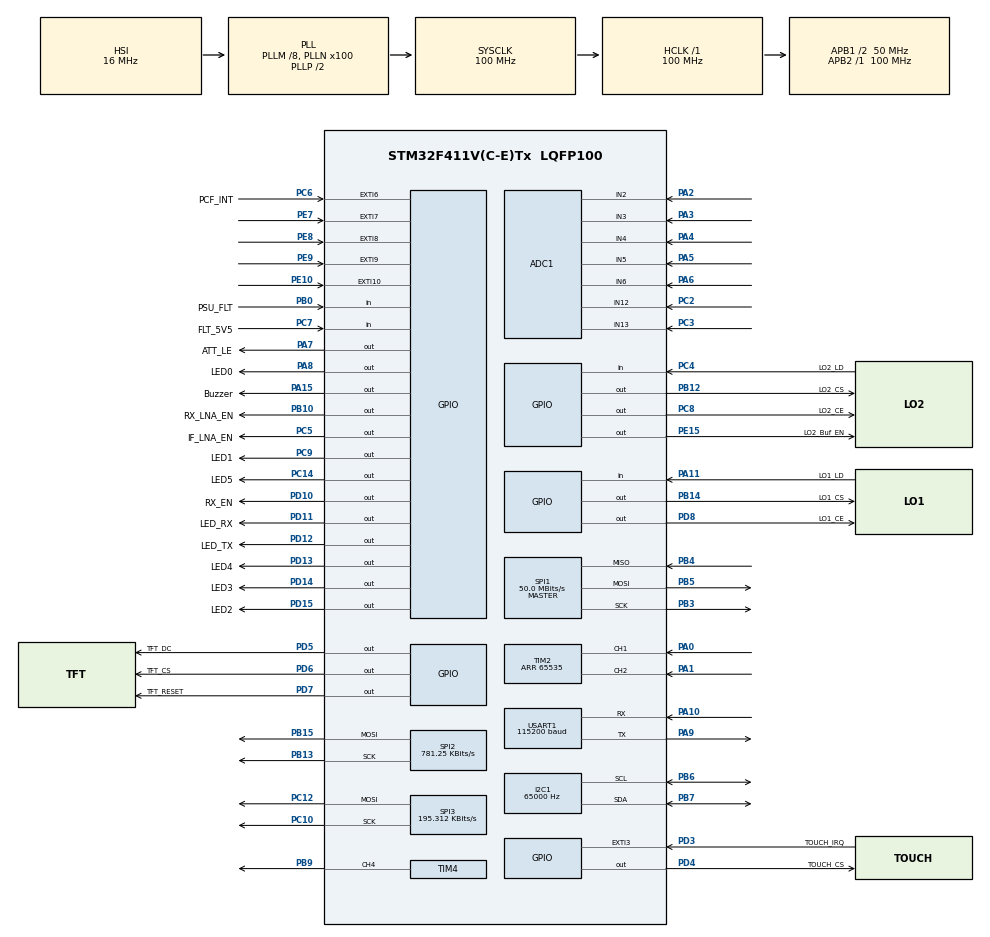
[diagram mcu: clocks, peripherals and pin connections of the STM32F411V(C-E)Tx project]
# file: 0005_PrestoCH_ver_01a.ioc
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ADC1.Channel-1\#ChannelRegularConversion=ADC_CHANNEL_2
ADC1.Channel-2\#ChannelRegularConversion=ADC_CHANNEL_3
ADC1.Channel-3\#ChannelRegularConversion=ADC_CHANNEL_4
ADC1.Channel-4\#ChannelRegularConversion=ADC_CHANNEL_5
ADC1.Channel-5\#ChannelRegularConversion=ADC_CHANNEL_6
ADC1.Channel-6\#ChannelRegularConversion=ADC_CHANNEL_12
ADC1.Channel-7\#ChannelRegularConversion=ADC_CHANNEL_13
ADC1.ClockPrescaler=ADC_CLOCK_SYNC_PCLK_DIV8
ADC1.ContinuousConvMode=ENABLE
ADC1.DMAContinuousRequests=ENABLE
ADC1.NbrOfConversion=7
ADC1.NbrOfConversionFlag=1
ADC1.Rank-1\#ChannelRegularConversion=1
ADC1.Rank-2\#ChannelRegularConversion=2
ADC1.Rank-3\#ChannelRegularConversion=3
ADC1.Rank-4\#ChannelRegularConversion=4
ADC1.Rank-5\#ChannelRegularConversion=5
ADC1.Rank-6\#ChannelRegularConversion=6
ADC1.Rank-7\#ChannelRegularConversion=7
ADC1.SamplingTime-1\#ChannelRegularConversion=ADC_SAMPLETIME_28CYCLES
ADC1.SamplingTime-2\#ChannelRegularConversion=ADC_SAMPLETIME_28CYCLES
ADC1.SamplingTime-3\#ChannelRegularConversion=ADC_SAMPLETIME_28CYCLES
ADC1.SamplingTime-4\#ChannelRegularConversion=ADC_SAMPLETIME_28CYCLES
ADC1.SamplingTime-5\#ChannelRegularConversion=ADC_SAMPLETIME_28CYCLES
ADC1.SamplingTime-6\#ChannelRegularConversion=ADC_SAMPLETIME_28CYCLES
ADC1.SamplingTime-7\#ChannelRegularConversion=ADC_SAMPLETIME_28CYCLES
ADC1.ScanConvMode=ENABLE
ADC1.master=1
Dma.ADC1.1.Direction=DMA_PERIPH_TO_MEMORY
Dma.ADC1.1.FIFOMode=DMA_FIFOMODE_DISABLE
Dma.ADC1.1.Instance=DMA2_Stream0
Dma.ADC1.1.MemDataAlignment=DMA_MDATAALIGN_HALFWORD
Dma.ADC1.1.MemInc=DMA_MINC_ENABLE
Dma.ADC1.1.Mode=DMA_CIRCULAR
Dma.ADC1.1.PeriphDataAlignment=DMA_PDATAALIGN_HALFWORD
Dma.ADC1.1.PeriphInc=DMA_PINC_DISABLE
Dma.ADC1.1.Priority=DMA_PRIORITY_LOW
Dma.Request0=SPI1_TX
Dma.Request1=ADC1
Dma.Request2=USART1_TX
Dma.SPI1_TX.0.Direction=DMA_MEMORY_TO_PERIPH
Dma.SPI1_TX.0.FIFOMode=DMA_FIFOMODE_DISABLE
Dma.SPI1_TX.0.Instance=DMA2_Stream2
Dma.SPI1_TX.0.MemDataAlignment=DMA_MDATAALIGN_BYTE
Dma.SPI1_TX.0.MemInc=DMA_MINC_ENABLE
Dma.SPI1_TX.0.Mode=DMA_NORMAL
Dma.SPI1_TX.0.PeriphDataAlignment=DMA_PDATAALIGN_BYTE
Dma.SPI1_TX.0.PeriphInc=DMA_PINC_DISABLE
Dma.SPI1_TX.0.Priority=DMA_PRIORITY_MEDIUM
Dma.USART1_TX.2.Direction=DMA_MEMORY_TO_PERIPH
Dma.USART1_TX.2.FIFOMode=DMA_FIFOMODE_DISABLE
Dma.USART1_TX.2.Instance=DMA2_Stream7
Dma.USART1_TX.2.MemDataAlignment=DMA_MDATAALIGN_BYTE
Dma.USART1_TX.2.MemInc=DMA_MINC_ENABLE
Dma.USART1_TX.2.Mode=DMA_NORMAL
Dma.USART1_TX.2.PeriphDataAlignment=DMA_PDATAALIGN_BYTE
Dma.USART1_TX.2.PeriphInc=DMA_PINC_DISABLE
Dma.USART1_TX.2.Priority=DMA_PRIORITY_LOW
FREERTOS.Tasks01=Main_task,40,1024,Main_task_start,Default,NULL,Dynamic,NULL,NULL;ADC_task,41,512,ADC_task_start,Default,NULL,Dynamic,NULL,NULL;Display_task,16,512,Display_task_start,Default,NULL,Dynamic,NULL,NULL;Communication_t,8,256,Communication_task_start,Default,NULL,Dynamic,NULL,NULL
FREERTOS.configENABLE_FPU=1
FREERTOS.configUSE_NEWLIB_REENTRANT=1
I2C1.ClockSpeed=65000
Mcu.Family=STM32F4
Mcu.Name=STM32F411V(C-E)Tx
Mcu.Package=LQFP100
NVIC.DMA2_Stream0_IRQn=true\:5\:0\:false\:false\:true\:true\:false\:true\:true
NVIC.DMA2_Stream2_IRQn=true\:5\:0\:false\:false\:true\:true\:false\:true\:true
NVIC.DMA2_Stream7_IRQn=true\:5\:0\:false\:false\:true\:true\:false\:true\:true
NVIC.EXTI15_10_IRQn=true\:5\:0\:false\:false\:true\:true\:true\:true\:true
NVIC.EXTI9_5_IRQn=true\:5\:0\:false\:false\:true\:true\:true\:true\:true
NVIC.PriorityGroup=NVIC_PRIORITYGROUP_4
NVIC.SPI1_IRQn=true\:5\:0\:false\:false\:true\:true\:true\:true\:true
NVIC.SPI2_IRQn=true\:5\:0\:false\:false\:true\:true\:true\:true\:true
NVIC.TIM1_TRG_COM_TIM11_IRQn=true\:15\:0\:false\:false\:true\:false\:false\:true\:true
NVIC.TIM1_UP_TIM10_IRQn=true\:5\:0\:false\:false\:true\:true\:true\:true\:true
NVIC.TimeBase=TIM1_TRG_COM_TIM11_IRQn
NVIC.TimeBaseIP=TIM11
NVIC.USART1_IRQn=true\:5\:0\:false\:false\:true\:true\:true\:true\:true
PA0-WKUP.Signal=S_TIM2_CH1_ETR
PA1.Signal=S_TIM2_CH2
PA10.Mode=Asynchronous
PA10.Signal=USART1_RX
PA11.GPIO_Label=LO1_LD
PA11.Signal=GPIO_Input
PA13.Mode=Serial_Wire
PA13.Signal=SYS_JTMS-SWDIO
PA14.Mode=Serial_Wire
PA14.Signal=SYS_JTCK-SWCLK
PA15.GPIO_Label=Buzzer
PA15.Signal=GPIO_Output
PA2.Signal=ADCx_IN2
PA3.Signal=ADCx_IN3
PA4.Signal=ADCx_IN4
PA5.Signal=ADCx_IN5
PA6.Signal=ADCx_IN6
PA7.GPIO_Label=ATT_LE
PA7.Signal=GPIO_Output
PA8.GPIO_Label=LED0
PA8.Signal=GPIO_Output
PA9.Mode=Asynchronous
PA9.Signal=USART1_TX
PB0.GPIO_Label=PSU_FLT
PB0.Signal=GPIO_Input
PB10.GPIO_Label=RX_LNA_EN
PB10.Signal=GPIO_Output
PB12.GPIO_Label=LO2_CS
PB12.Signal=GPIO_Output
PB13.Mode=TX_Only_Simplex_Unidirect_Master
PB13.Signal=SPI2_SCK
PB14.GPIO_Label=LO1_CS
PB14.Signal=GPIO_Output
PB15.Mode=TX_Only_Simplex_Unidirect_Master
PB15.Signal=SPI2_MOSI
PB3.Mode=Full_Duplex_Master
PB3.Signal=SPI1_SCK
PB4.Mode=Full_Duplex_Master
PB4.Signal=SPI1_MISO
PB5.Mode=Full_Duplex_Master
PB5.Signal=SPI1_MOSI
PB6.Mode=I2C
PB6.Signal=I2C1_SCL
PB7.Mode=I2C
PB7.Signal=I2C1_SDA
PB9.Signal=S_TIM4_CH4
PC10.Mode=TX_Only_Simplex_Unidirect_Master
PC10.Signal=SPI3_SCK
PC12.Mode=TX_Only_Simplex_Unidirect_Master
PC12.Signal=SPI3_MOSI
PC14-OSC32_IN.GPIO_Label=LED5
PC14-OSC32_IN.Signal=GPIO_Output
PC2.Signal=ADCx_IN12
PC3.Signal=ADCx_IN13
PC4.GPIO_Label=LO2_LD
PC4.Signal=GPIO_Input
PC5.GPIO_Label=IF_LNA_EN
PC5.Signal=GPIO_Output
PC6.GPIO_Label=PCF_INT
PC6.GPIO_ModeDefaultEXTI=GPIO_MODE_IT_FALLING
PC6.Signal=GPXTI6
PC7.GPIO_Label=FLT_5V5
PC7.Signal=GPIO_Input
PC8.GPIO_Label=LO2_CE
PC8.Signal=GPIO_Output
PC9.GPIO_Label=LED1
PC9.Signal=GPIO_Output
PD10.GPIO_Label=RX_EN
PD10.Signal=GPIO_Output
PD11.GPIO_Label=LED_RX
PD11.Signal=GPIO_Output
PD12.GPIO_Label=LED_TX
PD12.Signal=GPIO_Output
PD13.GPIO_Label=LED4
PD13.Signal=GPIO_Output
PD14.GPIO_Label=LED3
PD14.Signal=GPIO_Output
PD15.GPIO_Label=LED2
PD15.Signal=GPIO_Output
PD3.GPIO_Label=TOUCH_IRQ
PD3.Signal=GPXTI3
PD4.GPIO_Label=TOUCH_CS
PD4.Signal=GPIO_Output
PD5.GPIO_Label=TFT_DC
PD5.Signal=GPIO_Output
PD6.GPIO_Label=TFT_CS
PD6.Signal=GPIO_Output
PD7.GPIO_Label=TFT_RESET
PD7.Signal=GPIO_Output
PD8.GPIO_Label=LO1_CE
PD8.Signal=GPIO_Output
PE10.GPIO_ModeDefaultEXTI=GPIO_MODE_IT_FALLING
PE10.Signal=GPXTI10
PE15.GPIO_Label=LO2_Buf_EN
PE15.Signal=GPIO_Output
PE7.GPIO_ModeDefaultEXTI=GPIO_MODE_IT_FALLING
PE7.Signal=GPXTI7
PE8.GPIO_ModeDefaultEXTI=GPIO_MODE_IT_FALLING
PE8.Signal=GPXTI8
PE9.GPIO_ModeDefaultEXTI=GPIO_MODE_IT_FALLING
PE9.Signal=GPXTI9
ProjectManager.HeapSize=0x200
ProjectManager.StackSize=0x400
ProjectManager.TargetToolchain=STM32CubeIDE
RCC.48MHZClocksFreq_Value=50000000
RCC.AHBFreq_Value=100000000
RCC.APB1CLKDivider=RCC_HCLK_DIV2
RCC.APB1Freq_Value=50000000
RCC.APB1TimFreq_Value=100000000
RCC.APB2Freq_Value=100000000
RCC.APB2TimFreq_Value=100000000
RCC.CortexFreq_Value=100000000
RCC.HCLKFreq_Value=100000000
RCC.HSE_VALUE=25000000
RCC.HSI_VALUE=16000000
RCC.LSE_VALUE=32768
RCC.PLLM=8
RCC.PLLN=100
RCC.SYSCLKFreq_VALUE=100000000
RCC.SYSCLKSource=RCC_SYSCLKSOURCE_PLLCLK
RCC.VCOOutputFreq_Value=200000000
SH.ADCx_IN12.0=ADC1_IN12,IN12
SH.ADCx_IN13.0=ADC1_IN13,IN13
SH.ADCx_IN2.0=ADC1_IN2,IN2
SH.ADCx_IN3.0=ADC1_IN3,IN3
SH.ADCx_IN4.0=ADC1_IN4,IN4
SH.ADCx_IN5.0=ADC1_IN5,IN5
SH.ADCx_IN6.0=ADC1_IN6,IN6
SH.S_TIM2_CH1_ETR.0=TIM2_CH1,Encoder_Interface
SH.S_TIM2_CH2.0=TIM2_CH2,Encoder_Interface
SH.S_TIM4_CH4.0=TIM4_CH4,PWM Generation4 CH4
SPI1.CalculateBaudRate=50.0 MBits/s
SPI1.Direction=SPI_DIRECTION_2LINES
SPI1.Mode=SPI_MODE_MASTER
SPI1.VirtualType=VM_MASTER
SPI2.BaudRatePrescaler=SPI_BAUDRATEPRESCALER_64
SPI2.CalculateBaudRate=781.25 KBits/s
SPI2.Direction=SPI_DIRECTION_2LINES
SPI2.Mode=SPI_MODE_MASTER
SPI2.VirtualType=VM_MASTER
SPI3.BaudRatePrescaler=SPI_BAUDRATEPRESCALER_256
SPI3.CalculateBaudRate=195.312 KBits/s
SPI3.Direction=SPI_DIRECTION_2LINES
SPI3.FirstBit=SPI_FIRSTBIT_LSB
SPI3.Mode=SPI_MODE_MASTER
SPI3.VirtualType=VM_MASTER
TIM10.Period=10000-1
TIM10.Prescaler=10000
TIM2.AutoReloadPreload=TIM_AUTORELOAD_PRELOAD_ENABLE
TIM2.EncoderMode=TIM_ENCODERMODE_TI12
TIM2.IC1Filter=10
TIM2.IC2Filter=10
TIM2.Period=65535
TIM4.AutoReloadPreload=TIM_AUTORELOAD_PRELOAD_ENABLE
TIM4.Channel-PWM\ Generation4\ CH4=TIM_CHANNEL_4
TIM4.Prescaler=1
USART1.BaudRate=115200
USART1.VirtualMode=VM_ASYNC
VP_CRC_VS_CRC.Mode=CRC_Activate
VP_FREERTOS_VS_CMSIS_V2.Mode=CMSIS_V2
VP_SYS_VS_tim11.Mode=TIM11
VP_TIM10_VS_ClockSourceINT.Mode=Enable_Timer
VP_TIM4_VS_ClockSourceINT.Mode=Internal
board=custom

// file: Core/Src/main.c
/* USER CODE BEGIN Header */
/**
  ******************************************************************************
  * @file           : main.c
  * @brief          : Main program body
  ******************************************************************************
  * @attention
  *
  * Copyright (c) 2025 STMicroelectronics.
  * All rights reserved.
  *
  * This software is licensed under terms that can be found in the LICENSE file
  * in the root directory of this software component.
  * If no LICENSE file comes with this software, it is provided AS-IS.
  *
  ******************************************************************************
  */
/* USER CODE END Header */
#include "main.h"
#include "cmsis_os.h"
#include "adc.h"
#include "crc.h"
#include "dma.h"
#include "i2c.h"
#include "spi.h"
#include "tim.h"
#include "usart.h"
#include "gpio.h"

/* USER CODE BEGIN Includes */

#include "F1956.h"

#include "stdbool.h"

#include "ili9341_font.h"
#include "ili9341_gfx.h"
#include "ili9341.h"
#include "splash.h"
#include "globals.h"

#include <string.h>
#include <stdarg.h>
#include <stdio.h>

#include "BASIC.h"
#include "NV_data.h"
#include "24LC_EEPROM.h"

/* USER CODE END Includes */

/* USER CODE BEGIN PM */
volatile uint64_t Tim10_Counter;

/* USER CODE END PM */

/* USER CODE BEGIN PV */

//SPI_HandleTypeDef hspi2;

/* USER CODE END PV */

void SystemClock_Config(void);
void MX_FREERTOS_Init(void);

int main(void)
{

  /* MCU Configuration--------------------------------------------------------*/

  /* Reset of all peripherals, Initializes the Flash interface and the Systick. */
  HAL_Init();

  /* Configure the system clock */
  SystemClock_Config();

  /* Initialize all configured peripherals */
  MX_GPIO_Init();
  MX_DMA_Init();
  MX_SPI3_Init();
  MX_SPI1_Init();
  MX_SPI2_Init();
  MX_ADC1_Init();
  MX_I2C1_Init();
  MX_USART1_UART_Init();
  MX_TIM4_Init();
  MX_TIM2_Init();
  MX_CRC_Init();
  MX_TIM10_Init();
  /* USER CODE BEGIN 2 */
  HAL_TIM_Encoder_Start(&htim2, TIM_CHANNEL_ALL);
  HAL_UARTEx_ReceiveToIdle_IT(&huart1, uart_rxBUffer, UART_RX_BUFFER_SIZE);
  /* USER CODE END 2 */

  /* Init scheduler */
  osKernelInitialize();

  /* Call init function for freertos objects (in cmsis_os2.c) */
  MX_FREERTOS_Init();

  /* Start scheduler */
  osKernelStart();

  /* We should never get here as control is now taken by the scheduler */

  /* Infinite loop */
  /* USER CODE BEGIN WHILE */
  while (1)
  {
	  //Splash screen

/*
      testScreenFill(lcd);
      testScreenLines(lcd);
      HAL_Delay(2000);
      testScreenRects(lcd);
      HAL_Delay(2000);
      testScreenCircles(lcd);
      HAL_Delay(2000);
      testScreenText(lcd);
      HAL_Delay(2000);

*/

    /* USER CODE END WHILE */

  }
}

void SystemClock_Config(void)
{
  RCC_OscInitTypeDef RCC_OscInitStruct = {0};
  RCC_ClkInitTypeDef RCC_ClkInitStruct = {0};

  /** Configure the main internal regulator output voltage
  */
  __HAL_RCC_PWR_CLK_ENABLE();
  __HAL_PWR_VOLTAGESCALING_CONFIG(PWR_REGULATOR_VOLTAGE_SCALE1);

  /** Initializes the RCC Oscillators according to the specified parameters
  * in the RCC_OscInitTypeDef structure.
  */
  RCC_OscInitStruct.OscillatorType = RCC_OSCILLATORTYPE_HSI;
  RCC_OscInitStruct.HSIState = RCC_HSI_ON;
  RCC_OscInitStruct.HSICalibrationValue = RCC_HSICALIBRATION_DEFAULT;
  RCC_OscInitStruct.PLL.PLLState = RCC_PLL_ON;
  RCC_OscInitStruct.PLL.PLLSource = RCC_PLLSOURCE_HSI;
  RCC_OscInitStruct.PLL.PLLM = 8;
  RCC_OscInitStruct.PLL.PLLN = 100;
  RCC_OscInitStruct.PLL.PLLP = RCC_PLLP_DIV2;
  RCC_OscInitStruct.PLL.PLLQ = 4;
  if (HAL_RCC_OscConfig(&RCC_OscInitStruct) != HAL_OK)
  {
    Error_Handler();
  }

  /** Initializes the CPU, AHB and APB buses clocks
  */
  RCC_ClkInitStruct.ClockType = RCC_CLOCKTYPE_HCLK|RCC_CLOCKTYPE_SYSCLK
                              |RCC_CLOCKTYPE_PCLK1|RCC_CLOCKTYPE_PCLK2;
  RCC_ClkInitStruct.SYSCLKSource = RCC_SYSCLKSOURCE_PLLCLK;
  RCC_ClkInitStruct.AHBCLKDivider = RCC_SYSCLK_DIV1;
  RCC_ClkInitStruct.APB1CLKDivider = RCC_HCLK_DIV2;
  RCC_ClkInitStruct.APB2CLKDivider = RCC_HCLK_DIV1;

  if (HAL_RCC_ClockConfig(&RCC_ClkInitStruct, FLASH_LATENCY_3) != HAL_OK)
  {
    Error_Handler();
  }
}

/* USER CODE BEGIN 4 */

void HAL_GPIO_EXTI_Callback(uint16_t GPIO_Pin){
	// External interrupts from buttons / input lines

//Define button pressed 1-4, interrupts set values to 1, other function in main task, checks on every run of state has changed, then serves if it did, then resets state
	if (GPIO_Pin == 1024 && (tx_status != 1)){
		buttons_status[0] = 1;
	}
	else if(GPIO_Pin == 512 && (tx_status != 1)){
    	buttons_status[1] = 1;
    }
	else if(GPIO_Pin == 256 && (tx_status != 1)){
		buttons_status[2] = 1;
	}
	else if((GPIO_Pin == 128) && (tx_status != 1)){
		buttons_status[3] = 1 - buttons_status[3];
		HAL_GPIO_TogglePin(LED1_GPIO_Port, LED1_Pin);

		if(display_scene == 0){
			display_scene = 3;
		}
		else if(((display_scene >= 3) && (display_scene <= 6)) && buttons_status[3] == 0){
			display_scene = 0;
		}

	}

	else if((GPIO_Pin == 64) && (GPIO_EXP_INT != true)){	//TCA9554
		GPIO_EXP_INT = true;
	}

    else {
    	//Undefined interrupt number

    }

	//TODO redefine fault lines as interrupts.

}

void HAL_UART_TxCpltCallback(UART_HandleTypeDef *huart){
	memset(uart_txBuffer, 0, sizeof(uart_txBuffer)); //Clear the buffer
}

void HAL_UARTEx_RxEventCallback(UART_HandleTypeDef *huart, uint16_t Size){
	//Semaphore could be replaced with FreeRTOS Mutex but instant diregard of message and signaling of NDAC was chosen as preferred method over waiting
	if(UART_RX_semaphore == 0){
		//Received command while system is free to respond
		UART_RX_semaphore = 1;

	}
	else if(UART_RX_semaphore != 0){
		HAL_UART_Transmit_DMA(&huart1, (uint8_t *)NDAC, strlen((char *)NDAC));
	}

	HAL_UARTEx_ReceiveToIdle_IT(&huart1, uart_rxBUffer, UART_RX_BUFFER_SIZE);
}

//Test functions

void testScreenFill(ili9341_t *lcd)
{
  ili9341_fill_screen(lcd, ILI9341_BLUE);
  HAL_Delay(500);
  ili9341_fill_screen(lcd, ILI9341_RED);
  HAL_Delay(500);
  ili9341_fill_screen(lcd, ILI9341_GREEN);
  HAL_Delay(500);
}

void testScreenLines(ili9341_t *lcd)
{
  ili9341_fill_screen(lcd, ILI9341_BLACK);

  ili9341_color_t color;
  uint8_t wheel = 0U;

  for (int32_t i = 0; i < lcd->screen_size.height; i += 10)
    { color = ili9341_color_wheel(&wheel); wheel += 3;
      ili9341_draw_line(lcd, color, 0, 0, lcd->screen_size.width, i); }
  for (int32_t i = lcd->screen_size.width; i >= 0; i -= 10)
    { color = ili9341_color_wheel(&wheel); wheel += 3;
      ili9341_draw_line(lcd, color, 0, 0, i, lcd->screen_size.height); }

  HAL_Delay(500);

  for (int32_t i = 0; i < lcd->screen_size.height; i += 10)
    { color = ili9341_color_wheel(&wheel); wheel += 3;
      ili9341_draw_line(lcd, color, lcd->screen_size.width, lcd->screen_size.height, 0, lcd->screen_size.height - i); }
  for (int32_t i = lcd->screen_size.width; i >= 0; i -= 10)
    { color = ili9341_color_wheel(&wheel); wheel += 3;
      ili9341_draw_line(lcd, color, lcd->screen_size.width, lcd->screen_size.height, lcd->screen_size.width - i, 0); }
}

void testScreenRects(ili9341_t *lcd)
{
  ili9341_fill_screen(lcd, ILI9341_BLACK);

  ili9341_color_t color;
  uint8_t wheel = 0U;

  for (uint16_t i = 0, in = 0; i < lcd->screen_size.width; i += 16, ++in) {
    for (uint16_t j = 0, jn = 0; j < lcd->screen_size.height; j += 16, ++jn) {
      color = ili9341_color_wheel(&wheel);
      if ((in & 1) == (jn & 1)) {
        ili9341_fill_rect(lcd, color, i, j, 16, 16);
      } else {
        ili9341_draw_rect(lcd, ~color, i+2, j+2, 12, 12);
      }
    }
  }
}

void testScreenCircles(ili9341_t *lcd)
{
  ili9341_fill_screen(lcd, ILI9341_BLACK);

  uint16_t x_mid = lcd->screen_size.width / 2;
  uint16_t y_mid = lcd->screen_size.height / 2;
  uint16_t radius = x_mid;
  if (radius < y_mid)
    { radius = y_mid; }

  ili9341_color_t color;
  uint8_t wheel = 0U;

  for (int16_t i = radius; i >= 0; i -= 6) {
    color = ili9341_color_wheel(&wheel);
    wheel += 9;
    ili9341_fill_circle(lcd, color, x_mid, y_mid, i);
  }

  HAL_Delay(500);

  for (int16_t i = 0, n = 0; i < lcd->screen_size.width; i += 24, ++n) {
    for (int16_t j = 0, m = 0; j < lcd->screen_size.height; j += 24, ++m) {

      color = ili9341_color_wheel(&wheel);
      wheel += 3;

      if ((n & 1) == (m & 1)) {
        ili9341_draw_circle(lcd, color, i + 12, j + 12, 16);
        ili9341_draw_circle(lcd, color, i + 12, j + 12, 10);
        ili9341_draw_circle(lcd, color, i + 12, j + 12, 4);
      }
      else {
        ili9341_draw_circle(lcd, color, i + 12, j + 12, 8);
      }
    }
  }
}

void testScreenText(ili9341_t *lcd)
{
  ili9341_fill_screen(lcd, ILI9341_BLACK);

  ili9341_text_attr_t textAttr = (ili9341_text_attr_t){
    .font = &ili9341_font_11x18,
    .fg_color = ILI9341_WHITE,
    .bg_color = ILI9341_RED,
    .origin_x = 10,
    .origin_y = 10
  };
  ili9341_draw_string(lcd, textAttr, "Hellord!");

}
/* USER CODE END 4 */

void HAL_TIM_PeriodElapsedCallback(TIM_HandleTypeDef *htim)
{
  /* USER CODE BEGIN Callback 0 */
	if(htim->Instance==TIM10){
		Tim10_Counter = HAL_GetTick();

		if(TRX_F != CH_NV.TRX_F){
			NV_Write_TRX = WRITE_PENDING;
		}
		if(UP_Link_F != CH_NV.UP_Link_F){
			NV_Write_UP = WRITE_PENDING;
		}
		if(DOWN_Link_F != CH_NV.DOWN_Link_F){
			NV_Write_Down = WRITE_PENDING;
		}
  }
  /* USER CODE END Callback 0 */
  if (htim->Instance == TIM11) {
    HAL_IncTick();
  }
}

void Error_Handler(void)
{
  __disable_irq();
  while (1)
  {
  }
}

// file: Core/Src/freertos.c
/* USER CODE BEGIN Header */
/**
  ******************************************************************************
  * File Name          : freertos.c
  * Description        : Code for freertos applications
  ******************************************************************************
  * @attention
  *
  * Copyright (c) 2025 STMicroelectronics.
  * All rights reserved.
  *
  * This software is licensed under terms that can be found in the LICENSE file
  * in the root directory of this software component.
  * If no LICENSE file comes with this software, it is provided AS-IS.
  *
  ******************************************************************************
  */
/* USER CODE END Header */

#include "FreeRTOS.h"
#include "task.h"
#include "main.h"
#include "cmsis_os.h"

/* USER CODE BEGIN Includes */

#include "dma.h"
#include "spi.h"
#include "adc.h"
#include "gpio.h"
#include "math.h"

#include "F1956.h"
#include "LMX2572.h"
#include "frequency_functions.h"
#include "TCA9554.h"

#include "GPIO_expander.h"
#include "MCP9800.h"
#include "MCP4725.h"

#include "stdbool.h"

#include "ili9341_font.h"
#include "ili9341_gfx.h"
#include "ili9341.h"
#include "splash.h"
#include "globals.h"
#include "helper_functions.h"
#include "calibration.h"
#include "24LC_EEPROM.h"
#include "NV_data.h"
#include "error_handler.h"

#include <string.h>
#include <stdarg.h>
#include <stdio.h>

#include "usart.h"
#include <semphr.h>

#include "tim.h"

#include "BASIC.h"
/* USER CODE END Includes */

/* Definitions for Main_task */
osThreadId_t Main_taskHandle;
const osThreadAttr_t Main_task_attributes = {
  .name = "Main_task",
  .stack_size = 1024 * 4,
  .priority = (osPriority_t) osPriorityHigh,
};
/* Definitions for ADC_task */
osThreadId_t ADC_taskHandle;
const osThreadAttr_t ADC_task_attributes = {
  .name = "ADC_task",
  .stack_size = 512 * 4,
  .priority = (osPriority_t) osPriorityHigh1,
};
/* Definitions for Display_task */
osThreadId_t Display_taskHandle;
const osThreadAttr_t Display_task_attributes = {
  .name = "Display_task",
  .stack_size = 512 * 4,
  .priority = (osPriority_t) osPriorityBelowNormal,
};
/* Definitions for Communication_t */
osThreadId_t Communication_tHandle;
const osThreadAttr_t Communication_t_attributes = {
  .name = "Communication_t",
  .stack_size = 256 * 4,
  .priority = (osPriority_t) osPriorityLow,
};

void Main_task_start(void *argument);
void ADC_task_start(void *argument);
void Display_task_start(void *argument);
void Communication_task_start(void *argument);

void MX_FREERTOS_Init(void); /* (MISRA C 2004 rule 8.1) */

void MX_FREERTOS_Init(void) {

  /* USER CODE BEGIN RTOS_MUTEX */
  /* add mutexes, ... */
	i2cMutex = xSemaphoreCreateMutex();
  /* USER CODE END RTOS_MUTEX */

  /* Create the thread(s) */
  /* creation of Main_task */
  Main_taskHandle = osThreadNew(Main_task_start, NULL, &Main_task_attributes);

  /* creation of ADC_task */
  ADC_taskHandle = osThreadNew(ADC_task_start, NULL, &ADC_task_attributes);

  /* creation of Display_task */
  Display_taskHandle = osThreadNew(Display_task_start, NULL, &Display_task_attributes);

  /* creation of Communication_t */
  Communication_tHandle = osThreadNew(Communication_task_start, NULL, &Communication_t_attributes);

}

void Main_task_start(void *argument)
{
  /* USER CODE BEGIN Main_task_start */
	TIM4->CCR4 = Brightness_To_PWM(lcd_brightness);

	 TCA9554_HandleTypeDef GPIO_expander =
	 {
			  .hi2c = &hi2c1,
			  .address = TCA9554_ADDRESS,
			  .io_configuration = 0b00100010,		//OUT2 OUT1 PTT PA_EN LNB_POL LNB_SHDN LNB_FLT TX_EN
			  .io_states = 0b00000000,
			  .pol_inversion = 0x0
	 };

	TCA9554_init(&GPIO_expander);

	error_handler(HW_Init_POST(&GPIO_expander, 1));

	static MCP4725_HandleTypeDef VCTCXO_DAC =
	{
			.hi2c = &hi2c1,
			.id = 1,
			.i2c_address = MCP4725_VCTCXO_DAC_ADDRESS,
	};

	static LMX2572_HandleTypeDef pll1 =
	  {
	      .hspi    = &hspi2,
	      .cs_port = LO1_CS_GPIO_Port,
	      .cs_pin  = LO1_CS_Pin,
		  .ref_freq_hz = 48000000UL,
		  .ref_div = 1,
		  .id = 1
	  };

	 static LMX2572_HandleTypeDef pll2 =
	  {
	      .hspi    = &hspi2,
	      .cs_port = LO2_CS_GPIO_Port,
	      .cs_pin  = LO2_CS_Pin,
		  .ref_freq_hz = 48000000UL,
		  .ref_div = 48*5,
		  .id = 2
	  };

	 static uint8_t last_Remote_mode = 0;

	HAL_GPIO_WritePin(LO1_CS_GPIO_Port, LO1_CS_Pin, GPIO_PIN_SET);
	HAL_GPIO_WritePin(LO2_CS_GPIO_Port, LO2_CS_Pin, GPIO_PIN_SET);

	osDelay (500);

	TIM2->CNT = 32767;

	//Read NV structures form EEPROM
	//I2C_Scan();  //Scan I2C addresses
	xSemaphoreTake(i2cMutex, portMAX_DELAY);
	CRC_CH_Read_fail = EEPROM_Read_CH();
	HW_Init_POST(&GPIO_expander, 2);

	CRC_MB_Read_fail = EEPROM_Read_MB();
	HW_Init_POST(&GPIO_expander, 3);

	CRC_LO1_Read_fail = EEPROM_Read_LO1();
	HW_Init_POST(&GPIO_expander, 4);

	CRC_LO2_Read_fail = EEPROM_Read_LO2();
	HW_Init_POST(&GPIO_expander, 5);

	xSemaphoreGive(i2cMutex);
	load_structs();

	MCP4725_SetValue(&VCTCXO_DAC, PLL1_NV.VCTCXO_cal);

	init_synthesizers(&pll1, &pll2);

	HW_Init_POST(&GPIO_expander, 6);

	HAL_TIM_Base_Start_IT(&htim10); //Timer for periodic save functionality
	UART_RX_semaphore = 0;

	HW_Init_POST(&GPIO_expander, 7);
	HW_Init_POST(&GPIO_expander, 8);
	HW_Init_POST(&GPIO_expander, 9);
	HW_Init_POST(&GPIO_expander, 10);

	F1956_SetSPIHandle(&hspi3);
	F1956_S21_SPI(F1956_LUT(attenuation_dB_LNB), att_LNB_address);
	F1956_S21_SPI(F1956_LUT(attenuation_dB_TRX), att_TRX_address);

	//Basic Automated SCPI Interpreter for Controllers
	BASIC_Init();

	uint32_t main_loop_counter1 = 0;

  /* Infinite loop */
  for(;;){
	process_encoder();
	process_buttons();
	xSemaphoreTake(i2cMutex, portMAX_DELAY);
	process_nv_writes();
	xSemaphoreGive(i2cMutex);
	process_attenuators();	//Rewrite the F1956 driver to use handletypedef
	process_synthesizers(&pll1, &pll2);

	process_GPIO_mcu();
	process_GPIO_expander(&GPIO_expander);
	if((GPIO_EXP_INT == true) || (last_Remote_mode != Remote_Mode)){
		osDelay(5);
		tx_status = Get_PTT_State(&GPIO_expander);

		process_synthesizers(&pll1, &pll2);
		if(tx_status == 1){
			HAL_GPIO_WritePin(LED_RX_GPIO_Port, LED_RX_Pin, GPIO_PIN_RESET);
			HAL_GPIO_WritePin(LED_TX_GPIO_Port, LED_TX_Pin, GPIO_PIN_SET);
			display_scene = 1;
		}
		else if(tx_status == 0){
			HAL_GPIO_WritePin(LED_RX_GPIO_Port, LED_RX_Pin, GPIO_PIN_SET);
			HAL_GPIO_WritePin(LED_TX_GPIO_Port, LED_TX_Pin, GPIO_PIN_RESET);
			display_scene = 0;
		}

		LNB_FLT = Get_LNB_FLT(&GPIO_expander);

		GPIO_EXP_INT = false;
		last_Remote_mode = Remote_Mode;
	}

	//Process less frequent tasks
	main_loop_counter1++;
	if(main_loop_counter1 > 1e2){

		if(main_loop_counter1 >=1e2){
			main_loop_counter1 = 0;
		}
	}

    osDelay(5);
    //HAL_UART_Transmit_DMA(&huart1, self_test_Str, strlen((char *)self_test_Str));

  }
  /* USER CODE END Main_task_start */
}

void ADC_task_start(void *argument)
{
  /* USER CODE BEGIN ADC_task_start */
	uint32_t ADC_val_sum[ADC_BUFFER_SIZE];
	uint8_t counter = 0;

	float RF_det_tx_U = 0;
	float RF_det_in_U = 0;

	//uint8_t temp_raw[2];
	//uint16_t temp_val = 0;
	//int16_t signed_temp = 0;
	//HAL_StatusTypeDef tmp_read_status;

	HAL_ADC_Start_DMA(&hadc1, (uint32_t*)ADC_val, ADC_BUFFER_SIZE);

	MCP9800_HandleTypeDef tx_amp_temperature_sensor =
	{
			.address = MCP9800_amp_addr,
			.hi2c    = &hi2c1,
			.resolution = MCP9800_RES_12BIT,
			.oneshot = false,
			.fault_queue = MCP9800_FAULT_1,
			.alert_polarity = 0,
			.comp_int = 0,
			.shutdown = 0,
			.temp_hyst = 80,
			.temp_limit = 85
	};

	MCP9800_init(&tx_amp_temperature_sensor);

  /* Infinite loop */
  for(;;)
  {
	  for(uint8_t i = 0; i < ADC_BUFFER_SIZE; i++){
		  ADC_val_sum[i] += ADC_val[i];
	  }
	  counter++;

	  if(counter == AVG_TIMES){
		  for(uint8_t i = 0; i < ADC_BUFFER_SIZE; i++){
			  ADC_avg_val[i] = ADC_val_sum[i]/AVG_TIMES;
			  ADC_val_sum[i] = 0;
		  }
		  counter = 0;

			PSU_Vin  = (PSU_Vin_Calibration * adcValueToVoltage(ADC_avg_val[0])) - PSU_Vin_Calibration_offset;
			PSU_5V5  = PSU_5V5_Calibration * adcValueToVoltage(ADC_avg_val[5]);
			PSU_3V6  = PSU_3V6_Calibration * adcValueToVoltage(ADC_avg_val[6]);
			LNB_V    = (LNB_V_Calibration * adcValueToVoltage(ADC_avg_val[1])) - LNB_V_Calibration_offset;
			Imon_I   = (Imon_Calibration * adcValueToVoltage(ADC_avg_val[2])) - Imon_Calibration_offset;

			RF_det_in_U = adcValueToVoltage(ADC_avg_val[3]);
			if(tx_status == 1){
				RF_det_tx_U = adcValueToVoltage(ADC_avg_val[4]);

				DET_out_pwr = RF_det_tx_calA * powf(RF_det_tx_U, 2) + RF_det_tx_calB * (RF_det_tx_U) + RF_det_tx_calC + sampler_output_cal;
				//DET_out_pwr = DET_out_pwr + sampler_output_cal;	//Output in dBm

				RF_in_pwr = RF_det_rx_calA * powf(RF_det_in_U, 2) + RF_det_rx_calB * (RF_det_in_U) + RF_det_rx_calC + 37; //Input detector + attenuator
			}
			else{

				DET_rx_pwr = (RF_det_rx_calA * powf(RF_det_in_U, 2) + RF_det_rx_calB * (RF_det_in_U) + RF_det_rx_calC); //Level at the detector during RX
				if(RX_LNA_EN == 0){
					RF_RSSI = DET_rx_pwr + RX_CPL + attenuation_dB_LNB;	//Signal strength from LNB
				}
				else{
					RF_RSSI = DET_rx_pwr + RX_CPL + attenuation_dB_LNB + RX_LNA_GAIN;
				}
			}

			//Readout temperature from sensors
			temp_amp = MCP9800_read_temperature(&tx_amp_temperature_sensor);

			if(display_scene != 2){ //Ensure we are past BOOT screen (POST is not runing)
				Built_In_Test();
			}
	  }

    osDelay(10);
  }
  /* USER CODE END ADC_task_start */
}

void Display_task_start(void *argument)
{
  /* USER CODE BEGIN Display_task_start */
	  //Splash screen
	display_scene = 2;
	  ili9341_t *_screen;

	  ili9341_t *screen(void){
		  return _screen;
	  }

	  _screen = ili9341_new(
		        &hspi1,
		        TFT_RESET_GPIO_Port, TFT_RESET_Pin,
		        TFT_CS_GPIO_Port,    TFT_CS_Pin,
		        TFT_DC_GPIO_Port,    TFT_DC_Pin,
		        isoLandscape,
		        TOUCH_CS_GPIO_Port,  TOUCH_CS_Pin,
		        TOUCH_IRQ_GPIO_Port, TOUCH_IRQ_Pin,
		        itsSupported,
				itnNormalized);

	  ili9341_t *lcd = screen();
	  	ili9341_fill_screen(lcd, ILI9341_BLACK);
	  	ili9341_draw_border(lcd, ILI9341_ORANGE);

	      ILI9341_DrawImage((ILI9341_WIDTH - 160)/2,(ILI9341_HEIGHT-180)/2, 160, 160,
	      (const uint16_t*)splash_160x160);

	  	uint16_t LCD_bright_pwm = 32000;
	  	HAL_TIM_PWM_Start(&htim4, TIM_CHANNEL_4);
	  	TIM4->CCR4 = LCD_bright_pwm;

	      ili9341_text_attr_t splash_tittle_attr = (ili9341_text_attr_t){
	      	.font = &ili9341_font_16x26,
	      	.fg_color = ILI9341_ORANGE,
	  		.bg_color = ILI9341_BLACK,
	  		.origin_x = 15,
	  		.origin_y = 5
	      };

	      ili9341_text_attr_t error_txt_attr = (ili9341_text_attr_t){
	      	.font = &ili9341_font_16x26,
	      	.fg_color = ILI9341_WHITE,
	  		.bg_color = ILI9341_RED,
	  		.origin_x = 15,
	  		.origin_y = 186
	      };

	      ili9341_draw_string(lcd, splash_tittle_attr, "PRESTO TRANSVERTER");
	      splash_tittle_attr.origin_y = 190;
	      splash_tittle_attr.font = &ili9341_font_11x18;
	      ili9341_draw_string(lcd, splash_tittle_attr, "by SP6GK         sw ver 1.0"); //TODO change to read from ZCH NV

	  //Live update of progress bar
	  while(POST_Status < POST_Steps){

		  if(error_code != 0){
			  ili9341_draw_string(lcd, error_txt_attr, error_strings[error_code]);
		  }

		    ili9341_fill_rect(lcd, ILI9341_GREEN, 10, 210, ((POST_Status)*300 / POST_Steps), 18);
		    if(POST_Status < POST_Steps/4){
		    	HAL_GPIO_WritePin(LED1_GPIO_Port, LED1_Pin, GPIO_PIN_SET);
		    }
		    else if((POST_Status < POST_Steps/3) && (POST_Status > POST_Steps/4)){
		    	HAL_GPIO_WritePin(LED1_GPIO_Port, LED1_Pin, GPIO_PIN_RESET);
		    	HAL_GPIO_WritePin(LED2_GPIO_Port, LED2_Pin, GPIO_PIN_SET);
		    }
		    else if((POST_Status < POST_Steps/2) && (POST_Status > POST_Steps/3)){
		    	HAL_GPIO_WritePin(LED2_GPIO_Port, LED2_Pin, GPIO_PIN_RESET);
		    	HAL_GPIO_WritePin(LED3_GPIO_Port, LED3_Pin, GPIO_PIN_SET);
		    }
		    else if(((POST_Status < POST_Steps) && (POST_Status > POST_Steps/2)) && (POST_Status < POST_Steps-2)){ //Last 2 steps take control over LEDs
		    	HAL_GPIO_WritePin(LED3_GPIO_Port, LED3_Pin, GPIO_PIN_RESET);
		    	HAL_GPIO_WritePin(LED4_GPIO_Port, LED4_Pin, GPIO_PIN_SET);
		    }
		    else if(POST_Status >= POST_Steps){
		    	HAL_GPIO_WritePin(LED4_GPIO_Port, LED4_Pin, GPIO_PIN_RESET);
		    }
	  }

	  //Initialize buttons LED
	  if(vfo_track == 1){
		  HAL_GPIO_WritePin(LED4_GPIO_Port, LED4_Pin, GPIO_PIN_SET);
	  }
	  if(vfo_lock == 1){
		  HAL_GPIO_WritePin(LED3_GPIO_Port, LED3_Pin, GPIO_PIN_RESET);
	  }
	  //osDelay(1000);

	  display_scene = 0;
	  uint16_t screen_drawn = 2;
	  //uint16_t drawn_buttons = 0;
	  float disp_temperature = 0;
	  //static uint16_t last_select_menu = 0;

	  static bool last_Remote_mode = 0;

  /* Infinite loop */
  for(;;)
  {
	 draw_title_bar(lcd); //Prints presto transverter at the top if everything is ok, otherwise displays error code

	if(((display_scene == 0) && (screen_drawn != 0)) || (last_Remote_mode != Remote_Mode)){ //display_scene is a desired static elements of lcd, screen_drawin is a status ie. what is actually drawn
		//Default RX screen
		screen_drawn = rx_screen_display_scene(lcd);
		draw_selection_rectangle(lcd, screen_drawn);
		draw_buttons(lcd, screen_drawn, 1);
		draw_selection_rectangle(lcd, display_scene);
		last_Remote_mode = Remote_Mode;
	}
	else if(((display_scene == 1) && (screen_drawn != 1)) || (last_Remote_mode != Remote_Mode)){
		//TX screen
		screen_drawn = tx_screen_display_scene(lcd);
		draw_selection_rectangle(lcd, screen_drawn);
		draw_buttons(lcd, screen_drawn, 1);
		draw_selection_rectangle(lcd, display_scene);
		last_Remote_mode = Remote_Mode;
	}
	else if(buttons_status[3] == 1){
		//Entry point for menu mode

		if(select_position_menu_global <= 5){		//Menu 1
			display_scene = 3;
			if(display_scene != screen_drawn){
				screen_drawn = menu1_display_scene(lcd); 	//Static elements (text)
				menu1_display_settings(lcd, 1);
			}
			menu1_display_settings(lcd, 0); //Update settings
		}
		else if((select_position_menu_global > 5) && (select_position_menu_global <= 10)){	 //Menu 2
			display_scene = 4;
			if(display_scene != screen_drawn){
				screen_drawn = menu2_display_scene(lcd); 	//Static elements (text)
				menu2_display_settings(lcd, 1);
			}
			menu2_display_settings(lcd, 0);
		}
		else if((select_position_menu_global > 10) && (select_position_menu_global <= 15)){	 //Menu 3
			display_scene = 5;
			if(display_scene != screen_drawn){
				screen_drawn = menu3_display_scene(lcd);	//Static elements (text)
				menu3_display_settings(lcd, 1);
			}
			menu3_display_settings(lcd, 0);
		}
		else if((select_position_menu_global > 15) && (select_position_menu_global <= 20)){	//Menu 3
			display_scene = 6;
			if(display_scene != screen_drawn){
				screen_drawn = menu4_display_scene(lcd);	//Static elements (text)
				menu4_display_diag(lcd, 1);
			}
			menu4_display_diag(lcd, 0);
		}

	}
	draw_selection_rectangle(lcd, screen_drawn);
	draw_buttons(lcd, screen_drawn, 0);

    //Print frequencies and RSSI
	if((display_scene == 0) || (display_scene == 1)){
		ili9341_text_attr_t float_txt_attr = (ili9341_text_attr_t){
			.font = &ili9341_font_11x18,
			.fg_color = ILI9341_WHITE,
			.bg_color = ILI9341_BLACK,
			.origin_x = 50,
			.origin_y = 26
		};
		char test_float_Str[32] = {'\0'};
		double freq_mhz = 0;

		if(tx_status == 0){
			if(RF_RSSI > -26){
				sprintf(test_float_Str, "%.1f dBm", RF_RSSI);
			}
			else if(RF_RSSI <= -26){
				sprintf(test_float_Str, "<%.0f dBm", -26.0f);
			}
		}
		else{
			if(DET_out_pwr <= -100){
				sprintf(test_float_Str, "%.0f dBm", DET_out_pwr);
			}
			else if(DET_out_pwr > -100){
				sprintf(test_float_Str, "%.1f dBm", DET_out_pwr);
			}
		}

		ili9341_draw_string(lcd, float_txt_attr, test_float_Str);

		ili9341_text_attr_t Freq_text_attr = (ili9341_text_attr_t){
			.font = &ili9341_font_16x26,
			.fg_color = ILI9341_WHITE,
			.bg_color = ILI9341_BLACK,
			.origin_x = 41,
			.origin_y = 62
		};

		freq_mhz = (double)DOWN_Link_F / 1e6;
		sprintf(test_float_Str, "%.3f MHz", freq_mhz);
		ili9341_draw_string(lcd, Freq_text_attr, test_float_Str);

		Freq_text_attr.origin_y = 100;
		Freq_text_attr.origin_x = 55;

		freq_mhz = (double)UP_Link_F / 1e6;
		sprintf(test_float_Str, "%.3f MHz", freq_mhz);
		ili9341_draw_string(lcd, Freq_text_attr, test_float_Str);

		Freq_text_attr.origin_y = 138;
		Freq_text_attr.origin_x = 71;

		freq_mhz = (double)TRX_F / 1e6;
		sprintf(test_float_Str, "%.4f MHz", freq_mhz);
		ili9341_draw_string(lcd, Freq_text_attr, test_float_Str);

		Update_meter_bar(lcd, test_float, 150, 26, 18, 95, tx_status);

		//Debug
/*
		for(uint8_t i = 0; i < 100; i++){
			test_float++;
			Update_meter_bar(lcd, test_float, 150, 26, 18, 95, tx_status);
			osDelay(5);
		}
		for(uint8_t i = 100; i > 0; i--){
			test_float--;
			Update_meter_bar(lcd, test_float, 150, 26, 18, 95, tx_status);
			osDelay(5);
		}
*/

		ili9341_text_attr_t bottom_txt_attr = (ili9341_text_attr_t){
			.font = &ili9341_font_11x18,
			.fg_color = ILI9341_WHITE,
			.bg_color = ILI9341_BLACK,
			.origin_x = 50,
			.origin_y = 170
		};
		ili9341_draw_string(lcd, bottom_txt_attr, "NOT FITTED");

		//LNB status
		bottom_txt_attr.origin_x = 50;
		bottom_txt_attr.origin_y = 190;
		if(LNB_setting != 0){
			if(LNB_setting == 1){
				sprintf(test_float_Str, "V %.1f V", LNB_V);
				ili9341_draw_string(lcd, bottom_txt_attr, test_float_Str);
			}
			else if(LNB_setting == 2){
				sprintf(test_float_Str, "H %.1f V", LNB_V);
				ili9341_draw_string(lcd, bottom_txt_attr, test_float_Str);
			}
		}
		else if(LNB_setting == 0){
			ili9341_draw_string(lcd, bottom_txt_attr, "OFF     ");
		}

		bottom_txt_attr.origin_x = 185;
		bottom_txt_attr.origin_y = 190;

		if(PSU_Vin < 10){
			sprintf(test_float_Str, "%.2f V", PSU_Vin);
		}
		else if((PSU_Vin >= 10) && (PSU_Vin < 100)){
			sprintf(test_float_Str, "%.1f V", PSU_Vin);
		}
		else if(PSU_Vin >= 100){
			sprintf(test_float_Str, "%.0f V", PSU_Vin);
		}
		ili9341_draw_string(lcd, bottom_txt_attr, test_float_Str);

		bottom_txt_attr.origin_y = 210;

		disp_temperature = temp_amp;
		if(disp_temperature < 99){
			sprintf(test_float_Str, "%.1f", disp_temperature);
			ili9341_draw_string(lcd, bottom_txt_attr, test_float_Str);
		}
		else{
			ili9341_draw_string(lcd, bottom_txt_attr, ">99");
		}
		ili9341_draw_circle(lcd, ILI9341_WHITE, 235, 212, 2);
		bottom_txt_attr.origin_x = 240;
		ili9341_draw_string(lcd, bottom_txt_attr, "C");

		bottom_txt_attr.origin_x = 50;
		bottom_txt_attr.origin_y = 210;

		if(RX_LNA_EN == 0){
			ili9341_draw_string(lcd, bottom_txt_attr, "OFF");
		}
		else if(RX_LNA_EN == 1){
			ili9341_draw_string(lcd, bottom_txt_attr, "ON ");
		}

	}

    osDelay(10);
  }
  /* USER CODE END Display_task_start */
}

void Communication_task_start(void *argument)
{
  /* USER CODE BEGIN Communication_task_start */
	//Note: in future projects it would be better to handle BASIC commands here instead of ISR
	uint16_t heartbeat_led_delay = 100;
  /* Infinite loop */
  for(;;)
  {
	  if(SRV_Mode == 0){
		  osDelay(5*heartbeat_led_delay);
	  }
	  else if(SRV_Mode == 1){
		  osDelay(heartbeat_led_delay);
	  }
		HAL_GPIO_TogglePin(LED0_GPIO_Port, LED0_Pin);

		if((UART_RX_semaphore == 1) && (display_scene != 2)){
			BASIC_cmd(uart_rxBUffer, strlen((char *)uart_rxBUffer));
			memset(uart_rxBUffer, 0, sizeof(uart_rxBUffer));

			UART_RX_semaphore = 0;

		}

  }
  /* USER CODE END Communication_task_start */
}
